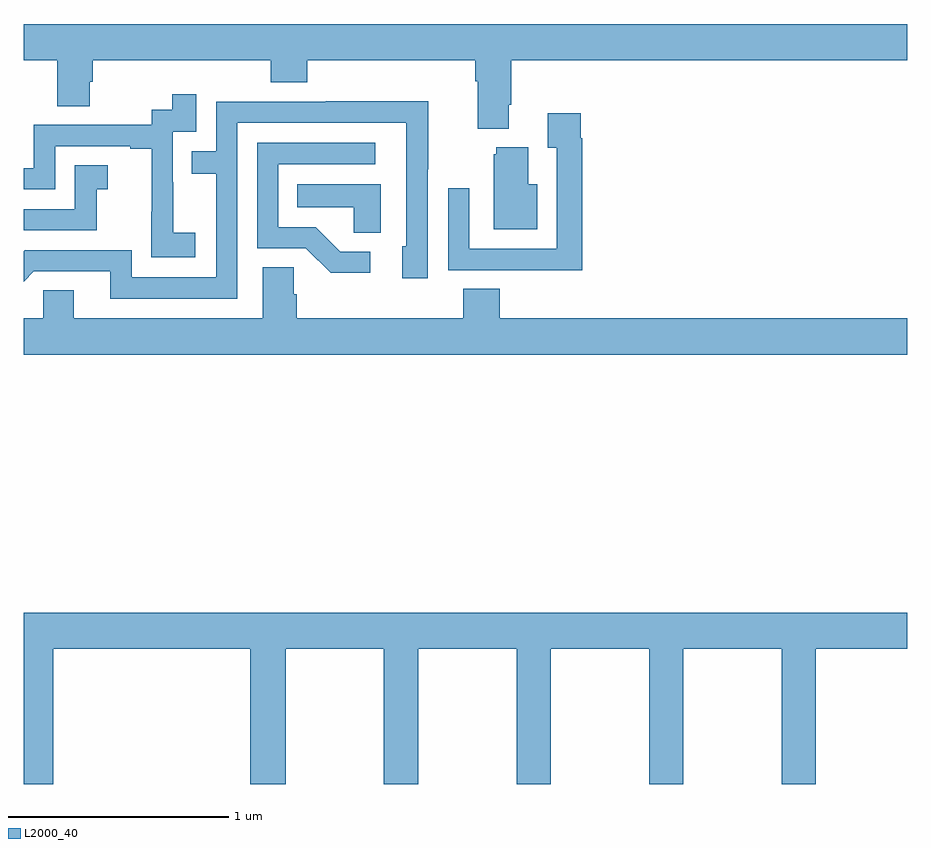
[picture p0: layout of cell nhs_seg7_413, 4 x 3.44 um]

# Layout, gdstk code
import gdstk
lib = gdstk.Library(unit=1e-6, precision=1e-09)
def P(c, l, *ps):  # polygons
    for p in ps: c.add(gdstk.Polygon(p, *l))
L2000_40 = (2000, 40)

nhs_seg7_413 = lib.new_cell('nhs_seg7_413')
P(nhs_seg7_413, L2000_40, [(145.195,1007.074),(145.208,1007.074),(145.208,1007.276),(147,1007.276),(147,1007.44),(143,1007.44),(143,1007.276),(143.152,1007.276),(143.152,1007.068),(143.299,1007.068),(143.299,1007.178),(143.312,1007.178),(143.312,1007.276),(144.119,1007.276),(144.119,1007.177),(144.284,1007.177),(144.284,1007.276),(145.043,1007.276),(145.043,1007.18),(145.055,1007.18),(145.055,1006.967),(145.195,1006.967)],
  [(143.776,1006.495),(143.678,1006.495),(143.678,1006.724),(143.676,1006.724),(143.676,1006.953),(143.781,1006.953),(143.781,1007.122),(143.673,1007.122),(143.673,1007.052),(143.58,1007.052),(143.58,1006.983),(143.046,1006.983),(143.046,1006.788),(143,1006.788),(143,1006.692),(143.142,1006.692),(143.142,1006.887),(143.483,1006.887),(143.483,1006.875),(143.579,1006.875),(143.579,1006.591),(143.578,1006.591),(143.578,1006.385),(143.776,1006.385)],
  [(143.967,1006.992),(144.732,1006.992),(144.732,1006.434),(144.713,1006.434),(144.713,1006.29),(144.828,1006.29),(144.828,1006.783),(144.831,1006.783),(144.831,1007.09),(144.367,1007.09),(144.367,1007.088),(143.871,1007.088),(143.871,1006.863),(143.761,1006.863),(143.761,1006.762),(143.871,1006.762),(143.871,1006.293),(143.49,1006.293),(143.49,1006.416),(143.004,1006.416),(143,1006.412),(143,1006.274),(143.046,1006.32),(143.393,1006.32),(143.393,1006.197),(143.967,1006.197)],
  [(145.529,1006.922),(145.522,1006.922),(145.522,1007.035),(145.373,1007.035),(145.373,1006.879),(145.413,1006.879),(145.413,1006.422),(145.017,1006.422),(145.017,1006.696),(144.921,1006.696),(144.921,1006.326),(145.237,1006.326),(145.237,1006.325),(145.529,1006.325)],
  [(144.568,1006.41),(144.433,1006.41),(144.322,1006.521),(144.153,1006.521),(144.153,1006.806),(144.592,1006.806),(144.592,1006.902),(144.057,1006.902),(144.057,1006.425),(144.276,1006.425),(144.389,1006.313),(144.568,1006.313)],
  [(145.324,1006.714),(145.285,1006.714),(145.285,1006.882),(145.139,1006.882),(145.139,1006.851),(145.127,1006.851),(145.127,1006.511),(145.324,1006.511)],
  [(143.331,1006.691),(143.38,1006.691),(143.38,1006.801),(143.232,1006.801),(143.232,1006.602),(143,1006.602),(143,1006.506),(143.331,1006.506)],
  [(144.616,1006.714),(144.238,1006.714),(144.238,1006.61),(144.495,1006.61),(144.495,1006.495),(144.616,1006.495)],
  [(147,1006.108),(145.154,1006.108),(145.154,1006.241),(144.989,1006.241),(144.989,1006.108),(144.236,1006.108),(144.236,1006.217),(144.222,1006.217),(144.222,1006.34),(144.083,1006.34),(144.083,1006.108),(143.227,1006.108),(143.227,1006.235),(143.088,1006.235),(143.088,1006.108),(143,1006.108),(143,1005.944),(147,1005.944)],
  [(143.135,1004.612),(144.026,1004.612),(144.026,1004),(144.186,1004),(144.186,1004.612),(144.631,1004.612),(144.631,1004),(144.786,1004),(144.786,1004.612),(145.231,1004.612),(145.231,1004),(145.386,1004),(145.386,1004.612),(145.831,1004.612),(145.831,1004),(145.986,1004),(145.986,1004.612),(146.431,1004.612),(146.431,1004),(146.586,1004),(146.586,1004.612),(147,1004.612),(147,1004.776),(143,1004.776),(143,1004),(143.135,1004)])

lib.write_gds('nhs_seg7_413.gds')
